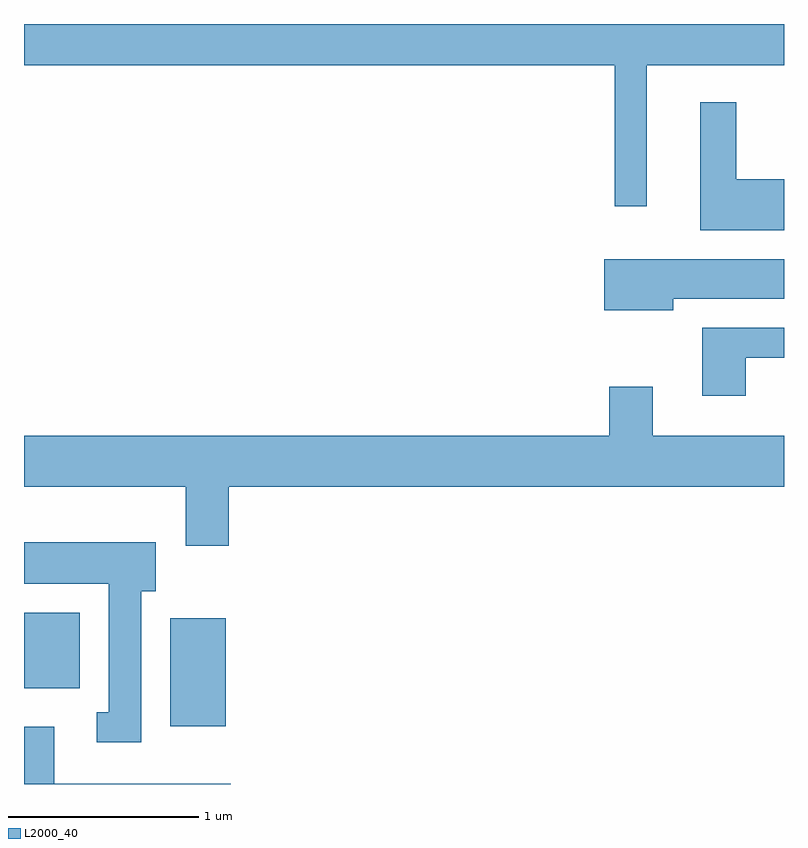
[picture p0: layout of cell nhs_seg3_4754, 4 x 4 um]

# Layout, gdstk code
import gdstk
lib = gdstk.Library(unit=1e-6, precision=1e-09)
def R(c, l, rs):  # rectangles x0, y0, x1, y1
    for r in rs: c.add(gdstk.rectangle(r[:2], r[2:], *l))
def P(c, l, *ps):  # polygons
    for p in ps: c.add(gdstk.Polygon(p, *l))
L2000_40 = (2000, 40)

nhs_seg3_4754 = lib.new_cell('nhs_seg3_4754')
R(nhs_seg3_4754, L2000_40, [(324.381,1240.196,324.674,1240.764), (323.611,1240.396,323.904,1240.794)])
P(nhs_seg3_4754, L2000_40, [(326.889,1243.676),(327.611,1243.676),(327.611,1243.892),(323.611,1243.892),(323.611,1243.676),(326.721,1243.676),(326.721,1242.933),(326.889,1242.933)],
  [(327.611,1243.074),(327.359,1243.074),(327.359,1243.479),(327.171,1243.479),(327.171,1242.806),(327.611,1242.806)],
  [(327.029,1242.446),(327.611,1242.446),(327.611,1242.654),(326.666,1242.654),(326.666,1242.386),(327.029,1242.386)],
  [(327.409,1242.136),(327.611,1242.136),(327.611,1242.294),(327.181,1242.294),(327.181,1241.936),(327.409,1241.936)],
  [(324.689,1241.456),(327.611,1241.456),(327.611,1241.724),(326.919,1241.724),(326.919,1241.984),(326.691,1241.984),(326.691,1241.724),(323.611,1241.724),(323.611,1241.456),(324.461,1241.456),(324.461,1241.146),(324.689,1241.146)],
  [(324.229,1240.906),(324.304,1240.906),(324.304,1241.164),(323.611,1241.164),(323.611,1240.946),(324.056,1240.946),(324.056,1240.269),(323.993,1240.269),(323.993,1240.111),(324.229,1240.111)],
  [(324.698,1239.894),(323.769,1239.894),(323.769,1240.194),(323.611,1240.194),(323.611,1239.892),(324.698,1239.892)])

lib.write_gds('nhs_seg3_4754.gds')
